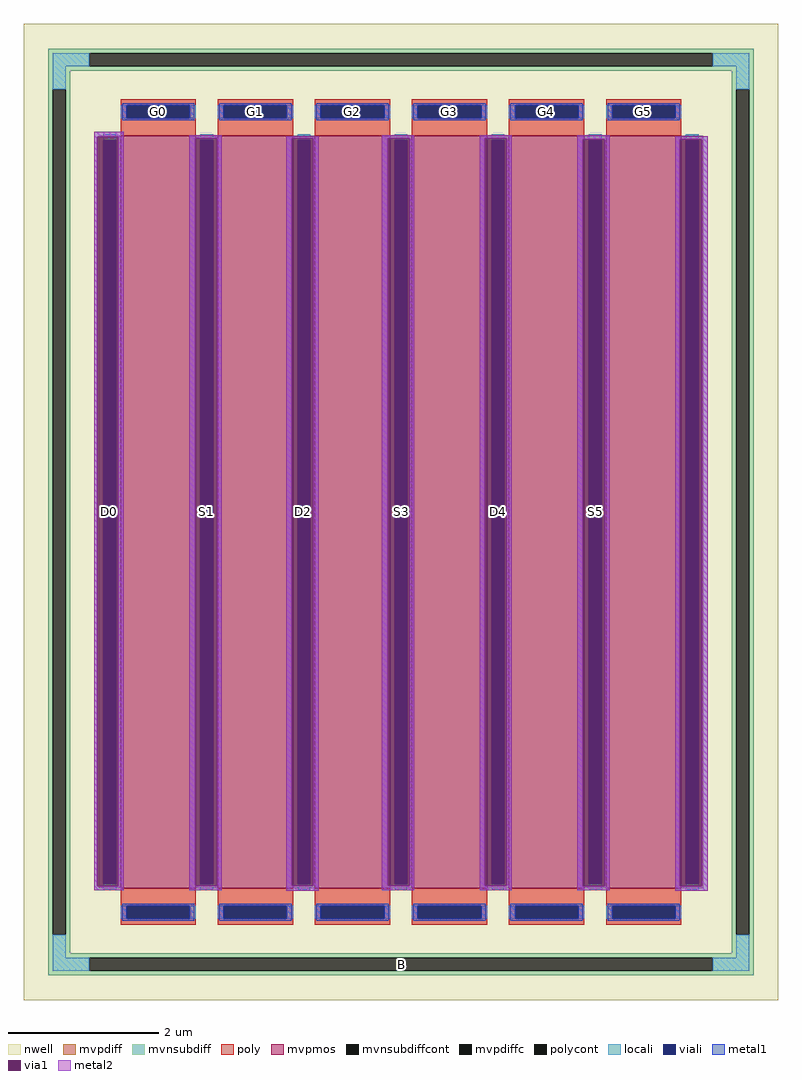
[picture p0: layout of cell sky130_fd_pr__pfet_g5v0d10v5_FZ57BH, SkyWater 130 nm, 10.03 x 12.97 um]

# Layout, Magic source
magic
tech sky130A
magscale 1 2
<< nwell >>
rect -1003 -1297 1003 1297
<< mvpmos >>
rect -745 -1000 -545 1000
rect -487 -1000 -287 1000
rect -229 -1000 -29 1000
rect 29 -1000 229 1000
rect 287 -1000 487 1000
rect 545 -1000 745 1000
<< mvpdiff >>
rect -803 988 -745 1000
rect -803 -988 -791 988
rect -757 -988 -745 988
rect -803 -1000 -745 -988
rect -545 988 -487 1000
rect -545 -988 -533 988
rect -499 -988 -487 988
rect -545 -1000 -487 -988
rect -287 988 -229 1000
rect -287 -988 -275 988
rect -241 -988 -229 988
rect -287 -1000 -229 -988
rect -29 988 29 1000
rect -29 -988 -17 988
rect 17 -988 29 988
rect -29 -1000 29 -988
rect 229 988 287 1000
rect 229 -988 241 988
rect 275 -988 287 988
rect 229 -1000 287 -988
rect 487 988 545 1000
rect 487 -988 499 988
rect 533 -988 545 988
rect 487 -1000 545 -988
rect 745 988 803 1000
rect 745 -988 757 988
rect 791 -988 803 988
rect 745 -1000 803 -988
<< mvpdiffc >>
rect -791 -988 -757 988
rect -533 -988 -499 988
rect -275 -988 -241 988
rect -17 -988 17 988
rect 241 -988 275 988
rect 499 -988 533 988
rect 757 -988 791 988
<< mvnsubdiff >>
rect -937 1219 937 1231
rect -937 1185 -829 1219
rect 829 1185 937 1219
rect -937 1173 937 1185
rect -937 1123 -879 1173
rect -937 -1123 -925 1123
rect -891 -1123 -879 1123
rect 879 1123 937 1173
rect -937 -1173 -879 -1123
rect 879 -1123 891 1123
rect 925 -1123 937 1123
rect 879 -1173 937 -1123
rect -937 -1185 937 -1173
rect -937 -1219 -829 -1185
rect 829 -1219 937 -1185
rect -937 -1231 937 -1219
<< mvnsubdiffcont >>
rect -829 1185 829 1219
rect -925 -1123 -891 1123
rect 891 -1123 925 1123
rect -829 -1219 829 -1185
<< poly >>
rect -745 1081 -545 1097
rect -745 1047 -729 1081
rect -561 1047 -545 1081
rect -745 1000 -545 1047
rect -487 1081 -287 1097
rect -487 1047 -471 1081
rect -303 1047 -287 1081
rect -487 1000 -287 1047
rect -229 1081 -29 1097
rect -229 1047 -213 1081
rect -45 1047 -29 1081
rect -229 1000 -29 1047
rect 29 1081 229 1097
rect 29 1047 45 1081
rect 213 1047 229 1081
rect 29 1000 229 1047
rect 287 1081 487 1097
rect 287 1047 303 1081
rect 471 1047 487 1081
rect 287 1000 487 1047
rect 545 1081 745 1097
rect 545 1047 561 1081
rect 729 1047 745 1081
rect 545 1000 745 1047
rect -745 -1047 -545 -1000
rect -745 -1081 -729 -1047
rect -561 -1081 -545 -1047
rect -745 -1097 -545 -1081
rect -487 -1047 -287 -1000
rect -487 -1081 -471 -1047
rect -303 -1081 -287 -1047
rect -487 -1097 -287 -1081
rect -229 -1047 -29 -1000
rect -229 -1081 -213 -1047
rect -45 -1081 -29 -1047
rect -229 -1097 -29 -1081
rect 29 -1047 229 -1000
rect 29 -1081 45 -1047
rect 213 -1081 229 -1047
rect 29 -1097 229 -1081
rect 287 -1047 487 -1000
rect 287 -1081 303 -1047
rect 471 -1081 487 -1047
rect 287 -1097 487 -1081
rect 545 -1047 745 -1000
rect 545 -1081 561 -1047
rect 729 -1081 745 -1047
rect 545 -1097 745 -1081
<< polycont >>
rect -729 1047 -561 1081
rect -471 1047 -303 1081
rect -213 1047 -45 1081
rect 45 1047 213 1081
rect 303 1047 471 1081
rect 561 1047 729 1081
rect -729 -1081 -561 -1047
rect -471 -1081 -303 -1047
rect -213 -1081 -45 -1047
rect 45 -1081 213 -1047
rect 303 -1081 471 -1047
rect 561 -1081 729 -1047
<< locali >>
rect -925 1185 -829 1219
rect 829 1185 925 1219
rect -925 1123 -891 1185
rect 891 1123 925 1185
rect -745 1047 -729 1081
rect -561 1047 -545 1081
rect -487 1047 -471 1081
rect -303 1047 -287 1081
rect -229 1047 -213 1081
rect -45 1047 -29 1081
rect 29 1047 45 1081
rect 213 1047 229 1081
rect 287 1047 303 1081
rect 471 1047 487 1081
rect 545 1047 561 1081
rect 729 1047 745 1081
rect -791 988 -757 1004
rect -791 -1004 -757 -988
rect -533 988 -499 1004
rect -533 -1004 -499 -988
rect -275 988 -241 1004
rect -275 -1004 -241 -988
rect -17 988 17 1004
rect -17 -1004 17 -988
rect 241 988 275 1004
rect 241 -1004 275 -988
rect 499 988 533 1004
rect 499 -1004 533 -988
rect 757 988 791 1004
rect 757 -1004 791 -988
rect -745 -1081 -729 -1047
rect -561 -1081 -545 -1047
rect -487 -1081 -471 -1047
rect -303 -1081 -287 -1047
rect -229 -1081 -213 -1047
rect -45 -1081 -29 -1047
rect 29 -1081 45 -1047
rect 213 -1081 229 -1047
rect 287 -1081 303 -1047
rect 471 -1081 487 -1047
rect 545 -1081 561 -1047
rect 729 -1081 745 -1047
rect -925 -1185 -891 -1123
rect 891 -1185 925 -1123
rect -925 -1219 -829 -1185
rect 829 -1219 925 -1185
<< viali >>
rect -729 1047 -561 1081
rect -471 1047 -303 1081
rect -213 1047 -45 1081
rect 45 1047 213 1081
rect 303 1047 471 1081
rect 561 1047 729 1081
rect -791 -988 -757 988
rect -533 -988 -499 988
rect -275 -988 -241 988
rect -17 -988 17 988
rect 241 -988 275 988
rect 499 -988 533 988
rect 757 -988 791 988
rect -729 -1081 -561 -1047
rect -471 -1081 -303 -1047
rect -213 -1081 -45 -1047
rect 45 -1081 213 -1047
rect 303 -1081 471 -1047
rect 561 -1081 729 -1047
<< metal1 >>
rect -741 1081 -549 1087
rect -741 1047 -729 1081
rect -561 1047 -549 1081
rect -741 1041 -549 1047
rect -483 1081 -291 1087
rect -483 1047 -471 1081
rect -303 1047 -291 1081
rect -483 1041 -291 1047
rect -225 1081 -33 1087
rect -225 1047 -213 1081
rect -45 1047 -33 1081
rect -225 1041 -33 1047
rect 33 1081 225 1087
rect 33 1047 45 1081
rect 213 1047 225 1081
rect 33 1041 225 1047
rect 291 1081 483 1087
rect 291 1047 303 1081
rect 471 1047 483 1081
rect 291 1041 483 1047
rect 549 1081 741 1087
rect 549 1047 561 1081
rect 729 1047 741 1081
rect 549 1041 741 1047
rect -815 997 -737 1011
rect -815 -995 -807 997
rect -751 -995 -737 997
rect -815 -1005 -737 -995
rect -563 993 -477 1001
rect -281 999 -235 1000
rect -563 -993 -547 993
rect -489 -993 -477 993
rect -563 -1005 -477 -993
rect -305 993 -219 999
rect -305 -993 -291 993
rect -233 -993 -219 993
rect -305 -1007 -219 -993
rect -51 993 35 1001
rect -51 -993 -35 993
rect 23 -993 35 993
rect -51 -1005 35 -993
rect 209 993 295 1001
rect 209 -993 223 993
rect 281 -993 295 993
rect 209 -1005 295 -993
rect 469 991 555 1001
rect 751 999 797 1000
rect 469 -995 483 991
rect 541 -995 555 991
rect 469 -1005 555 -995
rect 729 991 815 999
rect 729 -995 741 991
rect 799 -995 815 991
rect 729 -1007 815 -995
rect -741 -1047 -549 -1041
rect -741 -1081 -729 -1047
rect -561 -1081 -549 -1047
rect -741 -1087 -549 -1081
rect -483 -1047 -291 -1041
rect -483 -1081 -471 -1047
rect -303 -1081 -291 -1047
rect -483 -1087 -291 -1081
rect -225 -1047 -33 -1041
rect -225 -1081 -213 -1047
rect -45 -1081 -33 -1047
rect -225 -1087 -33 -1081
rect 33 -1047 225 -1041
rect 33 -1081 45 -1047
rect 213 -1081 225 -1047
rect 33 -1087 225 -1081
rect 291 -1047 483 -1041
rect 291 -1081 303 -1047
rect 471 -1081 483 -1047
rect 291 -1087 483 -1081
rect 549 -1047 741 -1041
rect 549 -1081 561 -1047
rect 729 -1081 741 -1047
rect 549 -1087 741 -1081
<< via1 >>
rect -807 988 -751 997
rect -807 -988 -791 988
rect -791 -988 -757 988
rect -757 -988 -751 988
rect -807 -995 -751 -988
rect -547 988 -489 993
rect -547 -988 -533 988
rect -533 -988 -499 988
rect -499 -988 -489 988
rect -547 -993 -489 -988
rect -291 988 -233 993
rect -291 -988 -275 988
rect -275 -988 -241 988
rect -241 -988 -233 988
rect -291 -993 -233 -988
rect -35 988 23 993
rect -35 -988 -17 988
rect -17 -988 17 988
rect 17 -988 23 988
rect -35 -993 23 -988
rect 223 988 281 993
rect 223 -988 241 988
rect 241 -988 275 988
rect 275 -988 281 988
rect 223 -993 281 -988
rect 483 988 541 991
rect 483 -988 499 988
rect 499 -988 533 988
rect 533 -988 541 988
rect 483 -995 541 -988
rect 741 988 799 991
rect 741 -988 757 988
rect 757 -988 791 988
rect 791 -988 799 988
rect 741 -995 799 -988
<< metal2 >>
rect -815 997 -737 1011
rect -815 -995 -807 997
rect -751 -995 -737 997
rect -815 -1005 -737 -995
rect -563 993 -477 1001
rect -563 -993 -547 993
rect -489 -993 -477 993
rect -563 -1005 -477 -993
rect -305 993 -219 999
rect -305 -993 -291 993
rect -233 -993 -219 993
rect -305 -1007 -219 -993
rect -51 993 35 1001
rect -51 -993 -35 993
rect 23 -993 35 993
rect -51 -1005 35 -993
rect 209 993 295 1001
rect 209 -993 223 993
rect 281 -993 295 993
rect 209 -1005 295 -993
rect 469 991 555 1001
rect 469 -995 483 991
rect 541 -995 555 991
rect 469 -1005 555 -995
rect 729 991 815 999
rect 729 -995 741 991
rect 799 -995 815 991
rect 729 -1007 815 -995
<< labels >>
rlabel mvnsubdiffcont 0 -1202 0 -1202 0 B
port 1 nsew
rlabel mvpdiffc -774 0 -774 0 0 D0
port 2 nsew
rlabel polycont -645 1064 -645 1064 0 G0
port 3 nsew
rlabel mvpdiffc -516 0 -516 0 0 S1
port 4 nsew
rlabel polycont -387 1064 -387 1064 0 G1
port 5 nsew
rlabel mvpdiffc -258 0 -258 0 0 D2
port 6 nsew
rlabel polycont -129 1064 -129 1064 0 G2
port 7 nsew
rlabel mvpdiffc 0 0 0 0 0 S3
port 8 nsew
rlabel polycont 129 1064 129 1064 0 G3
port 9 nsew
rlabel mvpdiffc 258 0 258 0 0 D4
port 10 nsew
rlabel polycont 387 1064 387 1064 0 G4
port 11 nsew
rlabel mvpdiffc 516 0 516 0 0 S5
port 12 nsew
rlabel polycont 645 1064 645 1064 0 G5
port 13 nsew
<< properties >>
string FIXED_BBOX -908 -1202 908 1202
string gencell sky130_fd_pr__pfet_g5v0d10v5
string library sky130
string parameters w 10 l 1 m 1 nf 6 diffcov 100 polycov 100 guard 1 glc 1 grc 1 gtc 1 gbc 1 tbcov 100 rlcov 100 topc 1 botc 1 poverlap 0 doverlap 1 lmin 0.50 wmin 0.42 class mosfet compatible {sky130_fd_pr__pfet_01v8  sky130_fd_pr__pfet_01v8_lvt sky130_fd_pr__pfet_01v8_hvt  sky130_fd_pr__pfet_g5v0d10v5} full_metal 1 conn_gates 0 viasrc 100 viadrn 100 viagate 100 viagb 0 viagr 0 viagl 0 viagt 0 doports 1
<< end >>
